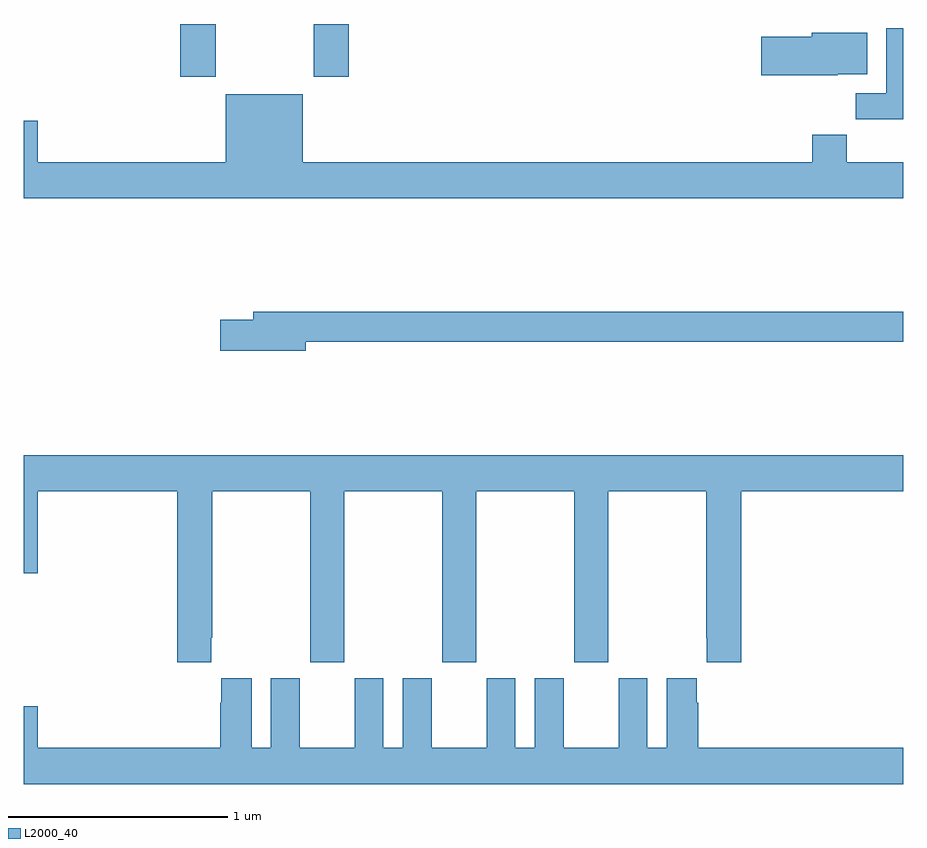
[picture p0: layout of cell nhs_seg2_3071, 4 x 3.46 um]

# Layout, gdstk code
import gdstk
lib = gdstk.Library(unit=1e-6, precision=1e-09)
def R(c, l, rs):  # rectangles x0, y0, x1, y1
    for r in rs: c.add(gdstk.rectangle(r[:2], r[2:], *l))
def P(c, l, *ps):  # polygons
    for p in ps: c.add(gdstk.Polygon(p, *l))
L2000_40 = (2000, 40)

nhs_seg2_3071 = lib.new_cell('nhs_seg2_3071')
R(nhs_seg2_3071, L2000_40, [(273.713,609.561,273.873,609.8), (274.318,609.561,274.478,609.8)])
P(nhs_seg2_3071, L2000_40, [(277,609.781),(276.923,609.781),(276.923,609.484),(276.784,609.484),(276.784,609.366),(277,609.366)],
  [(276.702,609.572),(276.835,609.572),(276.835,609.76),(276.584,609.76),(276.584,609.743),(276.354,609.743),(276.354,609.566),(276.702,609.566)],
  [(277,609.172),(276.743,609.172),(276.743,609.296),(276.587,609.296),(276.587,609.172),(274.27,609.172),(274.27,609.481),(273.92,609.481),(273.92,609.172),(273.064,609.172),(273.064,609.361),(273,609.361),(273,609.008),(277,609.008)],
  [(274.282,608.356),(277,608.356),(277,608.492),(274.043,608.492),(274.043,608.456),(273.894,608.456),(273.894,608.314),(274.282,608.314)],
  [(273.853,607.009),(273.858,607.009),(273.858,607.676),(274.303,607.676),(274.303,606.897),(274.458,606.897),(274.458,607.676),(274.903,607.676),(274.903,606.897),(275.058,606.897),(275.058,607.676),(275.503,607.676),(275.503,606.897),(275.658,606.897),(275.658,607.676),(276.103,607.676),(276.103,607.009),(276.107,607.009),(276.107,606.897),(276.263,606.897),(276.263,607.676),(277,607.676),(277,607.84),(273,607.84),(273,607.302),(273.064,607.302),(273.064,607.676),(273.698,607.676),(273.698,606.897),(273.853,606.897)],
  [(277,606.508),(276.068,606.508),(276.068,606.713),(276.061,606.713),(276.061,606.826),(275.924,606.826),(275.924,606.508),(275.836,606.508),(275.836,606.826),(275.705,606.826),(275.705,606.508),(275.455,606.508),(275.455,606.826),(275.324,606.826),(275.324,606.508),(275.236,606.508),(275.236,606.826),(275.105,606.826),(275.105,606.508),(274.855,606.508),(274.855,606.826),(274.724,606.826),(274.724,606.508),(274.636,606.508),(274.636,606.826),(274.505,606.826),(274.505,606.508),(274.255,606.508),(274.255,606.826),(274.124,606.826),(274.124,606.508),(274.036,606.508),(274.036,606.826),(273.899,606.826),(273.899,606.713),(273.893,606.713),(273.893,606.508),(273.064,606.508),(273.064,606.697),(273,606.697),(273,606.344),(277,606.344)])

lib.write_gds('nhs_seg2_3071.gds')
